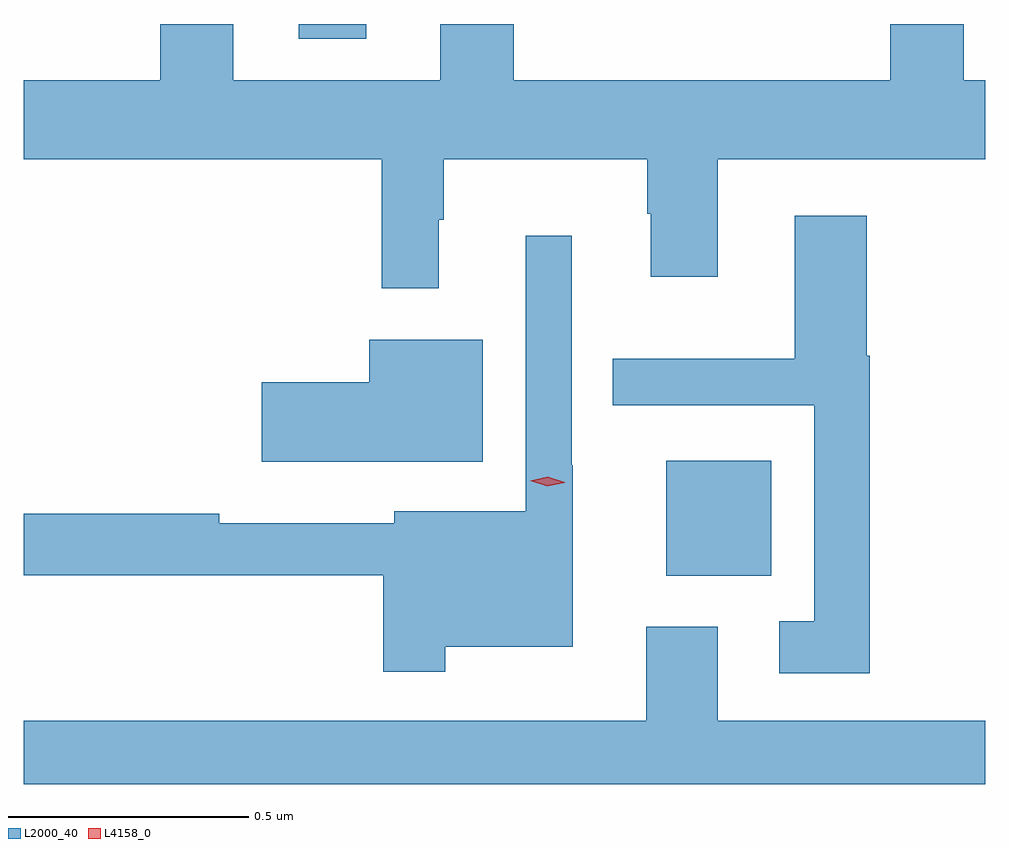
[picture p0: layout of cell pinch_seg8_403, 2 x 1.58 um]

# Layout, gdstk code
import gdstk
lib = gdstk.Library(unit=1e-6, precision=1e-09)
def R(c, l, rs):  # rectangles x0, y0, x1, y1
    for r in rs: c.add(gdstk.rectangle(r[:2], r[2:], *l))
def P(c, l, *ps):  # polygons
    for p in ps: c.add(gdstk.Polygon(p, *l))
L2000_40 = (2000, 40)
L4158_0 = (4158, 0)

pinch_seg8_403 = lib.new_cell('pinch_seg8_403')
R(pinch_seg8_403, L2000_40, [(514.736,1082.333,514.954,1082.572), (513.971,1083.45,514.111,1083.481)])
P(pinch_seg8_403, L2000_40, [(514.696,1083.086),(514.703,1083.086),(514.703,1082.955),(514.843,1082.955),(514.843,1083.2),(515.399,1083.2),(515.399,1083.364),(515.354,1083.364),(515.354,1083.481),(515.201,1083.481),(515.201,1083.364),(514.418,1083.364),(514.418,1083.481),(514.265,1083.481),(514.265,1083.364),(513.835,1083.364),(513.835,1083.481),(513.683,1083.481),(513.683,1083.364),(513.399,1083.364),(513.399,1083.2),(514.144,1083.2),(514.144,1082.931),(514.262,1082.931),(514.262,1083.074),(514.273,1083.074),(514.273,1083.2),(514.696,1083.2)],
  [(515.159,1082.791),(515.153,1082.791),(515.153,1083.082),(515.003,1083.082),(515.003,1082.785),(514.624,1082.785),(514.624,1082.688),(515.043,1082.688),(515.043,1082.239),(514.971,1082.239),(514.971,1082.13),(515.159,1082.13)],
  [(514.276,1082.186),(514.541,1082.186),(514.541,1082.563),(514.539,1082.563),(514.539,1083.04),(514.443,1083.04),(514.443,1082.467),(514.17,1082.467),(514.17,1082.442),(513.806,1082.442),(513.806,1082.462),(513.399,1082.462),(513.399,1082.334),(514.147,1082.334),(514.147,1082.133),(514.276,1082.133)],
  [(514.354,1082.824),(514.118,1082.824),(514.118,1082.736),(513.894,1082.736),(513.894,1082.57),(514.354,1082.57)],
  [(515.399,1082.032),(514.843,1082.032),(514.843,1082.227),(514.694,1082.227),(514.694,1082.032),(513.399,1082.032),(513.399,1081.9),(515.399,1081.9)])
P(pinch_seg8_403, L4158_0, [(514.488,1082.519),(514.453,1082.531),(514.453,1082.531),(514.453,1082.531),(514.489,1082.539),(514.524,1082.528),(514.524,1082.528),(514.524,1082.527)])

lib.write_gds('pinch_seg8_403.gds')
